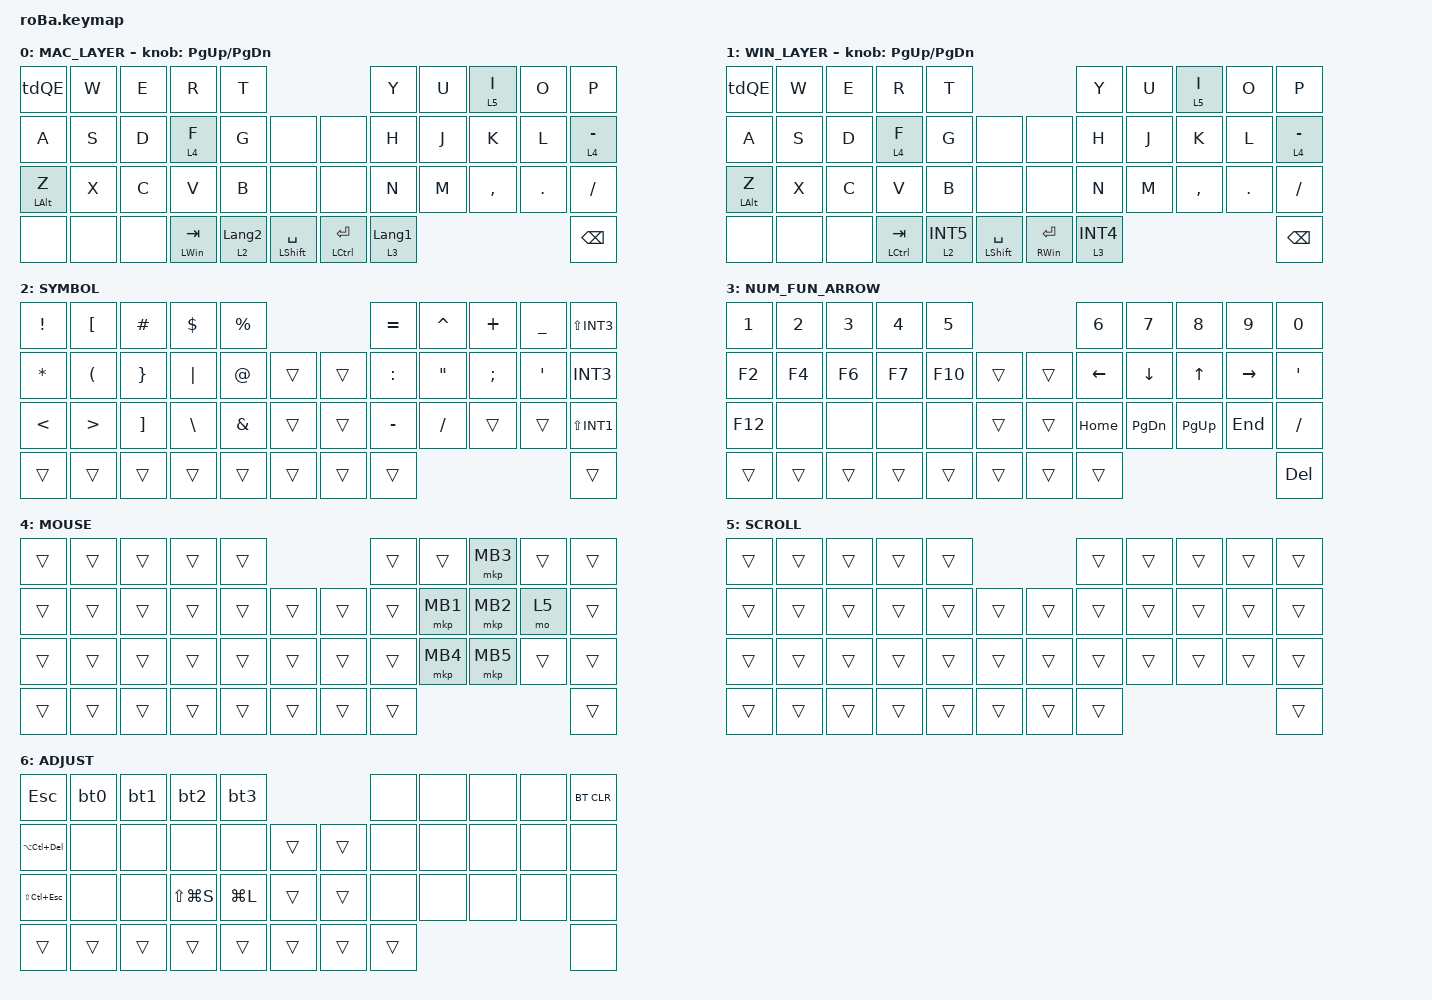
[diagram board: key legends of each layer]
#include <behaviors.dtsi>
#include <dt-bindings/zmk/bt.h>
#include <dt-bindings/zmk/keys.h>
#include <dt-bindings/zmk/pointing.h>

#define MOUSE 4
#define SCROLL 5
#define NUM 6

&mt {
    flavor = "balanced";
    quick-tap-ms = <0>;
};

/ {
    combos { compatible = "zmk,combos"; };

    macros {
        bt0: bt0 {
            compatible = "zmk,behavior-macro";
            #binding-cells = <0>;
            bindings =
                <&tog_off 1>,
                <&macro_wait_time 200>,
                <&bt BT_SEL 0>,
                <&macro_wait_time 500>;

            label = "BT0";
        };

        bt1: bt1 {
            compatible = "zmk,behavior-macro";
            #binding-cells = <0>;
            bindings =
                <&tog_off 1>,
                <&macro_wait_time 200>,
                <&bt BT_SEL 1>,
                <&macro_wait_time 500>,
                <&tog_on 1>;

            label = "BT1";
        };

        bt2: bt2 {
            compatible = "zmk,behavior-macro";
            #binding-cells = <0>;
            bindings =
                <&tog_off 1>,
                <&macro_wait_time 200>,
                <&bt BT_SEL 2>,
                <&macro_wait_time 500>,
                <&tog_on 1>;

            label = "BT2";
        };

        bt3: bt3 {
            compatible = "zmk,behavior-macro";
            #binding-cells = <0>;
            bindings =
                <&tog_off 1>,
                <&macro_wait_time 200>,
                <&bt BT_SEL 3>,
                <&macro_wait_time 500>;

            label = "BT3";
        };
    };

    behaviors {
        tdQE: td_Q_ESC {
            compatible = "zmk,behavior-tap-dance";
            label = "TD_Q_ESC";
            #binding-cells = <0>;
            bindings = <&kp Q>, <&kp ESC>;

            tapping-term-ms = <200>;
        };

        tog_on: toggle_layer_on_only {
            compatible = "zmk,behavior-toggle-layer";
            label = "Toggle Layer ON";
            #binding-cells = <1>;
        };

        tog_off: toggle_layer_off_only {
            compatible = "zmk,behavior-toggle-layer";
            label = "Toggle Layer Off";
            #binding-cells = <1>;
            toggle-mode = "off";
        };
    };

    keymap {
        compatible = "zmk,keymap";

        MAC_LAYER {
            bindings = <
&tdQE       &kp W  &kp E  &kp R             &kp T                                                    &kp Y             &kp U  &lt 5 I    &kp O    &kp P
&kp A       &kp S  &kp D  &lt 4 F           &kp G             &none                 &none            &kp H             &kp J  &kp K      &kp L    &lt 4 MINUS
&mt LALT Z  &kp X  &kp C  &kp V             &kp B             &none                 &none            &kp N             &kp M  &kp COMMA  &kp DOT  &kp SLASH
&none       &none  &none  &mt LEFT_WIN TAB  &lt 2 LANGUAGE_2  &mt LSHIFT SPACE      &mt LCTRL ENTER  &lt 3 LANGUAGE_1                             &kp BACKSPACE
            >;

            sensor-bindings = <&inc_dec_kp PG_UP PAGE_DOWN>;
        };

        WIN_LAYER {
            bindings = <
&tdQE       &kp W  &kp E  &kp R          &kp T                                                  &kp Y       &kp U  &lt 5 I    &kp O    &kp P
&kp A       &kp S  &kp D  &lt 4 F        &kp G       &none                 &none                &kp H       &kp J  &kp K      &kp L    &lt 4 MINUS
&mt LALT Z  &kp X  &kp C  &kp V          &kp B       &none                 &none                &kp N       &kp M  &kp COMMA  &kp DOT  &kp SLASH
&none       &none  &none  &mt LCTRL TAB  &lt 2 INT5  &mt LSHIFT SPACE      &mt RIGHT_WIN ENTER  &lt 3 INT4                             &kp BACKSPACE
            >;

            sensor-bindings = <&inc_dec_kp PG_UP PAGE_DOWN>;
        };

        SYMBOL {
            bindings = <
&kp EXCL  &kp LBKT  &kp HASH  &kp DLLR  &kp PRCNT                      &kp EQUAL  &kp CARET  &kp PLUS  &kp UNDER  &kp LS(INT3)
&kp STAR  &kp LPAR  &kp RBRC  &kp PIPE  &kp AT     &trans      &trans  &kp COLON  &kp DQT    &kp SEMI  &kp SQT    &kp INT3
&kp LT    &kp GT    &kp RBKT  &kp BSLH  &kp AMPS   &trans      &trans  &kp MINUS  &kp SLASH  &trans    &trans     &kp LS(INT1)
&trans    &trans    &trans    &trans    &trans     &trans      &trans  &trans                                     &trans
            >;
        };

        NUM_FUN_ARROW {
            bindings = <
&kp NUMBER_1  &kp NUMBER_2  &kp NUMBER_3  &kp NUMBER_4  &kp NUMBER_5                      &kp NUMBER_6  &kp NUMBER_7  &kp NUMBER_8  &kp NUMBER_9  &kp NUMBER_0
&kp F2        &kp F4        &kp F6        &kp F7        &kp F10       &trans      &trans  &kp LEFT      &kp DOWN      &kp UP        &kp RIGHT     &kp SQT
&kp F12       &none         &none         &none         &none         &trans      &trans  &kp HOME      &kp PG_DN     &kp PG_UP     &kp END       &kp SLASH
&trans        &trans        &trans        &trans        &trans        &trans      &trans  &trans                                                  &kp DEL
            >;
        };

        MOUSE {
            bindings = <
&trans  &trans  &trans  &trans  &trans                      &trans  &trans    &mkp MB3  &trans  &trans
&trans  &trans  &trans  &trans  &trans  &trans      &trans  &trans  &mkp MB1  &mkp MB2  &mo 5   &trans
&trans  &trans  &trans  &trans  &trans  &trans      &trans  &trans  &mkp MB4  &mkp MB5  &trans  &trans
&trans  &trans  &trans  &trans  &trans  &trans      &trans  &trans                              &trans
            >;
        };

        SCROLL {
            bindings = <
&trans  &trans  &trans  &trans  &trans                      &trans  &trans  &trans  &trans  &trans
&trans  &trans  &trans  &trans  &trans  &trans      &trans  &trans  &trans  &trans  &trans  &trans
&trans  &trans  &trans  &trans  &trans  &trans      &trans  &trans  &trans  &trans  &trans  &trans
&trans  &trans  &trans  &trans  &trans  &trans      &trans  &trans                          &trans
            >;
        };

        ADJUST {
            bindings = <
&kp ESCAPE       &bt0    &bt1    &bt2           &bt3                           &none   &none  &none  &none  &bt BT_CLR
&kp LA(LC(DEL))  &none   &none   &none          &none      &trans      &trans  &none   &none  &none  &none  &none
&kp LS(LC(ESC))  &none   &none   &kp LS(LG(S))  &kp LG(L)  &trans      &trans  &none   &none  &none  &none  &none
&trans           &trans  &trans  &trans         &trans     &trans      &trans  &trans                       &none
            >;
        };
    };

    conditional_layers {
        compatible = "zmk,conditional-layers";

        ADJUST {
            if-layers = <2 3>;
            then-layer = <6>;
        };
    };
};
